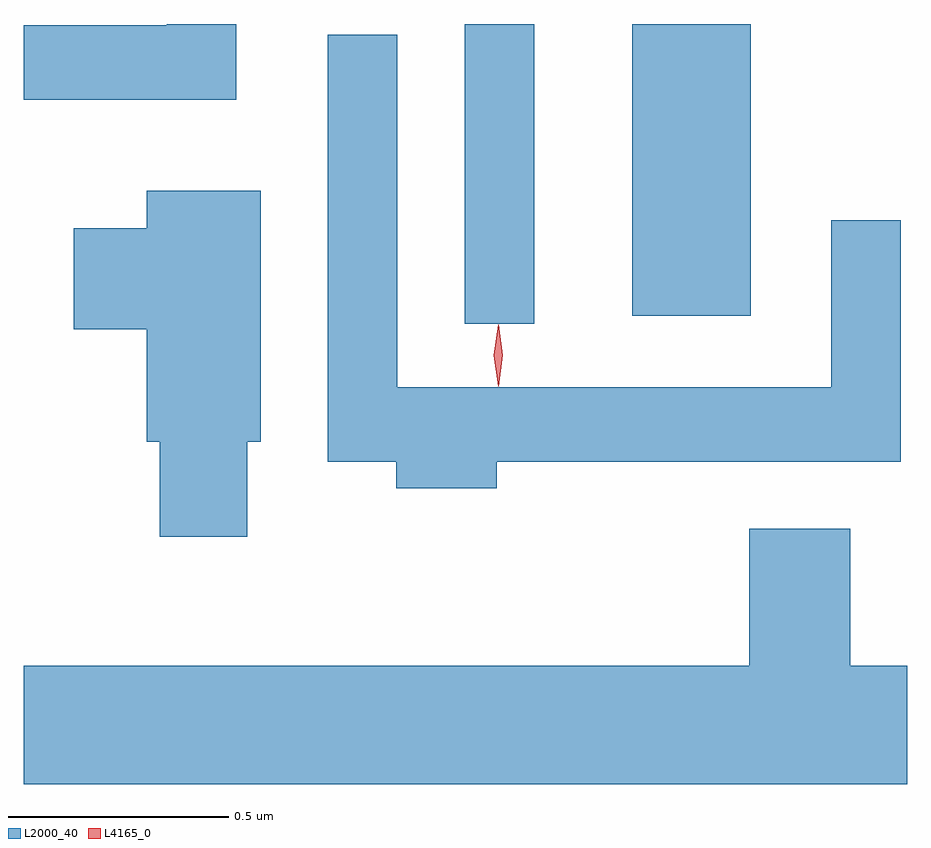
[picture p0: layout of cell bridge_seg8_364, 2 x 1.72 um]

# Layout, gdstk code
import gdstk
lib = gdstk.Library(unit=1e-6, precision=1e-09)
def R(c, l, rs):  # rectangles x0, y0, x1, y1
    for r in rs: c.add(gdstk.rectangle(r[:2], r[2:], *l))
def P(c, l, *ps):  # polygons
    for p in ps: c.add(gdstk.Polygon(p, *l))
L2000_40 = (2000, 40)
L4165_0 = (4165, 0)

bridge_seg8_364 = lib.new_cell('bridge_seg8_364')
R(bridge_seg8_364, L2000_40, [(789.486,1935.138,789.644,1935.817), (789.866,1935.156,790.134,1935.817)])
P(bridge_seg8_364, L2000_40, [(788.969,1935.817),(788.811,1935.817),(788.811,1935.814),(788.488,1935.814),(788.488,1935.646),(788.969,1935.646)],
  [(789.559,1934.826),(790.474,1934.826),(790.474,1935.373),(790.316,1935.373),(790.316,1934.994),(789.334,1934.994),(789.334,1935.793),(789.176,1935.793),(789.176,1934.826),(789.331,1934.826),(789.331,1934.766),(789.559,1934.766)],
  [(788.994,1934.871),(789.024,1934.871),(789.024,1935.439),(788.766,1935.439),(788.766,1935.354),(788.601,1935.354),(788.601,1935.126),(788.766,1935.126),(788.766,1934.871),(788.796,1934.871),(788.796,1934.656),(788.994,1934.656)],
  [(790.488,1934.364),(790.359,1934.364),(790.359,1934.674),(790.131,1934.674),(790.131,1934.364),(788.488,1934.364),(788.488,1934.096),(790.488,1934.096)])
P(bridge_seg8_364, L4165_0, [(789.562,1934.997),(789.562,1934.997),(789.552,1935.067),(789.562,1935.136),(789.562,1935.136),(789.563,1935.136),(789.572,1935.067),(789.563,1934.997)])

lib.write_gds('bridge_seg8_364.gds')
